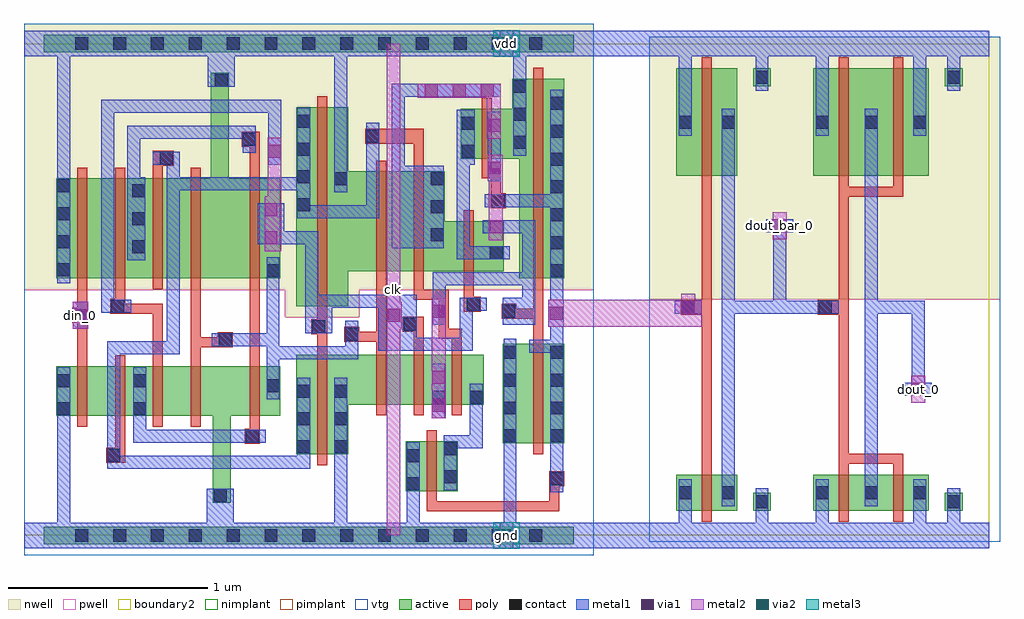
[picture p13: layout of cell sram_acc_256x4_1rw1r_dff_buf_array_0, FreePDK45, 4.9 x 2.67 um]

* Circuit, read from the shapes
.subckt sram_acc_256x4_1rw1r_dff_buf_array_0 clk din_0 dout_0 dout_bar_0 gnd vdd
M1 n1 din_0 gnd gnd nfet w=0.25u l=0.05u
M2 n2 n3 n1 gnd nfet w=0.25u l=0.05u
M3 n4 clk n2 gnd nfet w=0.25u l=0.05u
M4 gnd n5 n4 gnd nfet w=0.25u l=0.05u
M5 n5 n2 gnd gnd nfet w=0.25u l=0.05u
M6 gnd clk n3 gnd nfet w=0.5u l=0.05u
M7 n6 n5 gnd gnd nfet w=0.25u l=0.05u
M8 n7 clk n6 gnd nfet w=0.25u l=0.05u
M9 n8 sram_acc_256x4_1rw1r_dff_buf_0_0/sram_acc_256x4_1rw1r_pinv_3_1/A gnd gnd nfet w=0.25u l=0.05u
M10 n8 n3 n7 gnd nfet w=0.25u l=0.05u
M11 sram_acc_256x4_1rw1r_dff_buf_0_0/sram_acc_256x4_1rw1r_pinv_3_1/A n7 gnd gnd nfet w=0.5u l=0.05u
M12 dout_bar_0 sram_acc_256x4_1rw1r_dff_buf_0_0/sram_acc_256x4_1rw1r_pinv_3_1/A gnd gnd nfet w=0.18u l=0.05u
M13 dout_0 dout_bar_0 gnd gnd nfet w=0.18u l=0.05u m=2
M14 n9 din_0 vdd vdd pfet w=0.5u l=0.05u
M15 n2 clk n9 vdd pfet w=0.5u l=0.05u
M16 n10 n3 n2 vdd pfet w=0.5u l=0.05u
M17 vdd n5 n10 vdd pfet w=0.5u l=0.05u
M18 n5 n2 vdd vdd pfet w=0.5u l=0.05u
M19 vdd clk n3 vdd pfet w=1u l=0.05u
M20 n11 n5 vdd vdd pfet w=0.5u l=0.05u
M21 n7 n3 n11 vdd pfet w=0.5u l=0.05u
M22 n12 clk n7 vdd pfet w=0.25u l=0.05u
M23 vdd sram_acc_256x4_1rw1r_dff_buf_0_0/sram_acc_256x4_1rw1r_pinv_3_1/A n12 vdd pfet w=0.25u l=0.05u
M24 sram_acc_256x4_1rw1r_dff_buf_0_0/sram_acc_256x4_1rw1r_pinv_3_1/A n7 vdd vdd pfet w=1u l=0.05u
M25 dout_bar_0 sram_acc_256x4_1rw1r_dff_buf_0_0/sram_acc_256x4_1rw1r_pinv_3_1/A vdd vdd pfet w=0.54u l=0.05u
M26 dout_0 dout_bar_0 vdd vdd pfet w=0.54u l=0.05u m=2
.ends

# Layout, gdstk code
import gdstk
lib = gdstk.Library(unit=1e-6, precision=5e-10)
def R(c, l, rs):  # rectangles x0, y0, x1, y1
    for r in rs: c.add(gdstk.rectangle(r[:2], r[2:], *l))
def A(c, l, x, y, w, h, nx, ny, dx, dy):  # array of equal rectangles
    R(c, l, [(x+i*dx, y+j*dy, x+i*dx+w, y+j*dy+h) for i in range(nx) for j in range(ny)])
def P(c, l, *ps):  # polygons
    for p in ps: c.add(gdstk.Polygon(p, *l))
active = (1, 0)
pwell = (2, 0)
nwell = (3, 0)
nimplant = (4, 0)
pimplant = (5, 0)
vtg = (6, 0)
poly = (9, 0)
contact = (10, 0)
metal1 = (11, 0)
via1 = (12, 0)
metal2 = (13, 0)
via2 = (14, 0)
metal3 = (15, 0)
boundary2 = (239, 0)

dff = lib.new_cell('dff')
A(dff, active, 0.2675, 0.6, 0.05, 0.25, 4, 1, 0.19, 0)
A(dff, active, 0.3175, 0.6, 0.14, 0.25, 3, 1, 0.19, 0)
A(dff, active, 1.7675, 0.6575, 0.05, 0.25, 3, 1, 0.19, 0)
A(dff, active, 0.2675, 1.2925, 0.05, 0.5, 4, 1, 0.19, 0)
A(dff, active, 0.3175, 1.2925, 0.14, 0.5, 3, 1, 0.19, 0)
R(dff, active, [(0.1,-0.045,2.76,0.045), (1.9175,0.2225,2.0225,0.4725), (2.0225,0.2225,2.0725,0.4725), (2.0725,0.2225,2.1775,0.4725), (1.3675,0.4075,1.4725,0.9075), (1.4725,0.4075,1.5225,0.9075), (2.4025,0.4625,2.5575,0.9625), (2.5575,0.4625,2.6075,0.9625), (2.6075,0.4625,2.7125,0.9625), (0.1625,0.6,0.2675,0.85), (1.1325,0.6,1.1825,0.85), (1.1825,0.6,1.2875,0.85), (1.8175,0.6575,1.9575,0.9075), (2.0075,0.6575,2.1475,0.9075), (2.1975,0.6575,2.3075,0.9075), (1.3675,1.15,1.4725,2.15), (1.4725,1.15,1.5225,2.15), (0.1625,1.2925,0.2675,1.7925), (1.1325,1.2925,1.1825,1.7925), (1.1825,1.2925,1.2875,1.7925), (2.5575,1.2925,2.6075,2.2925), (2.6075,1.2925,2.7125,2.2925), (1.7675,1.3275,1.8175,1.8275), (1.8175,1.3275,1.9575,1.8275), (1.9575,1.3275,2.0075,1.8275), (2.2075,1.3275,2.2575,1.5775), (2.2575,1.3275,2.4075,1.5775), (2.1925,1.8925,2.2975,2.1425), (2.2975,1.8925,2.3475,2.1425), (0.1,2.425,2.76,2.515)])
P(dff, active, [(0.8875,1.2925),(0.8875,1.7925),(0.9375,1.7925),(0.9375,2.3225),(1.0275,2.3225),(1.0275,1.7925),(1.1325,1.7925),(1.1325,1.2925)],
  [(1.5225,1.15),(1.5225,2.15),(1.6275,2.15),(1.6275,1.8275),(1.7675,1.8275),(1.7675,1.3275),(1.6275,1.3275),(1.6275,1.15)],
  [(2.0075,1.3275),(2.0075,1.8275),(2.1125,1.8275),(2.1125,1.5775),(2.2075,1.5775),(2.2075,1.3275)],
  [(2.4875,1.2925),(2.4875,1.8925),(2.3475,1.8925),(2.3475,2.1425),(2.4525,2.1425),(2.4525,2.2925),(2.5575,2.2925),(2.5575,1.2925)],
  [(0.9475,0.165),(0.9475,0.6),(0.8875,0.6),(0.8875,0.85),(1.1325,0.85),(1.1325,0.6),(1.0375,0.6),(1.0375,0.165)],
  [(1.5225,0.4075),(1.5225,0.9075),(1.7675,0.9075),(1.7675,0.6575),(1.6275,0.6575),(1.6275,0.4075)])
P(dff, pwell, [(0,-0.1),(0,1.235),(1.3125,1.235),(1.3125,1.095),(1.6825,1.095),(1.6825,1.235),(2.86,1.235),(2.86,-0.1)])
P(dff, nwell, [(1.3125,1.095),(1.3125,1.235),(0,1.235),(0,2.57),(2.86,2.57),(2.86,1.235),(1.6825,1.235),(1.6825,1.095)])
A(dff, nimplant, 0.2675, 0.6, 0.05, 0.25, 4, 1, 0.19, 0)
A(dff, nimplant, 0.3175, 0.6, 0.14, 0.25, 3, 1, 0.19, 0)
A(dff, nimplant, 1.7675, 0.6575, 0.05, 0.25, 3, 1, 0.19, 0)
R(dff, nimplant, [(1.9175,0.2225,2.0225,0.4725), (2.0225,0.2225,2.0725,0.4725), (2.0725,0.2225,2.1775,0.4725), (1.3675,0.4075,1.4725,0.9075), (1.4725,0.4075,1.5225,0.9075), (2.4025,0.4625,2.5575,0.9625), (2.5575,0.4625,2.6075,0.9625), (2.6075,0.4625,2.7125,0.9625), (0.1625,0.6,0.2675,0.85), (1.1325,0.6,1.1825,0.85), (1.1825,0.6,1.2875,0.85), (1.8175,0.6575,1.9575,0.9075), (2.0075,0.6575,2.1475,0.9075), (2.1975,0.6575,2.3075,0.9075), (0.1,2.425,2.76,2.515)])
P(dff, nimplant, [(0.9475,0.165),(0.9475,0.6),(0.8875,0.6),(0.8875,0.85),(1.1325,0.85),(1.1325,0.6),(1.0375,0.6),(1.0375,0.165)],
  [(1.5225,0.4075),(1.5225,0.9075),(1.7675,0.9075),(1.7675,0.6575),(1.6275,0.6575),(1.6275,0.4075)])
A(dff, pimplant, 0.2675, 1.2925, 0.05, 0.5, 4, 1, 0.19, 0)
A(dff, pimplant, 0.3175, 1.2925, 0.14, 0.5, 3, 1, 0.19, 0)
R(dff, pimplant, [(0.1,-0.045,2.76,0.045), (1.3675,1.15,1.4725,2.15), (1.4725,1.15,1.5225,2.15), (0.1625,1.2925,0.2675,1.7925), (1.1325,1.2925,1.1825,1.7925), (1.1825,1.2925,1.2875,1.7925), (2.5575,1.2925,2.6075,2.2925), (2.6075,1.2925,2.7125,2.2925), (1.7675,1.3275,1.8175,1.8275), (1.8175,1.3275,1.9575,1.8275), (1.9575,1.3275,2.0075,1.8275), (2.2075,1.3275,2.2575,1.5775), (2.2575,1.3275,2.4075,1.5775), (2.1925,1.8925,2.2975,2.1425), (2.2975,1.8925,2.3475,2.1425)])
P(dff, pimplant, [(0.8875,1.2925),(0.8875,1.7925),(0.9375,1.7925),(0.9375,2.3225),(1.0275,2.3225),(1.0275,1.7925),(1.1325,1.7925),(1.1325,1.2925)],
  [(1.5225,1.15),(1.5225,2.15),(1.6275,2.15),(1.6275,1.8275),(1.7675,1.8275),(1.7675,1.3275),(1.6275,1.3275),(1.6275,1.15)],
  [(2.0075,1.3275),(2.0075,1.8275),(2.1125,1.8275),(2.1125,1.5775),(2.2075,1.5775),(2.2075,1.3275)],
  [(2.4875,1.2925),(2.4875,1.8925),(2.3475,1.8925),(2.3475,2.1425),(2.4525,2.1425),(2.4525,2.2925),(2.5575,2.2925),(2.5575,1.2925)])
R(dff, vtg, [(0,-0.1,2.86,2.57)])
A(dff, poly, 0.2675, 0.6, 0.05, 0.25, 4, 1, 0.19, 0)
A(dff, poly, 1.7675, 0.6025, 0.05, 0.055, 3, 1, 0.19, 0)
A(dff, poly, 1.7675, 0.6575, 0.05, 0.25, 3, 1, 0.19, 0)
A(dff, poly, 0.2675, 1.2925, 0.05, 0.5, 4, 1, 0.19, 0)
R(dff, poly, [(2.0225,0.2225,2.0725,0.4725), (1.4725,0.3525,1.5225,0.4075), (1.4725,0.4075,1.5225,0.9075), (2.5575,0.4075,2.6075,0.4625), (2.5575,0.4625,2.6075,0.9625), (2.0225,0.4725,2.0725,0.5275), (0.2675,0.545,0.3175,0.6), (0.6475,0.545,0.6975,0.6), (0.8375,0.545,0.8875,0.6), (1.1325,0.6,1.1825,0.85), (0.4575,0.85,0.5075,0.905), (1.1325,0.85,1.1825,1.2925), (1.4725,1.15,1.5225,2.15), (0.6475,1.2375,0.6975,1.2925), (1.1325,1.2925,1.1825,1.7925), (2.5575,1.2925,2.6075,2.2925), (1.7675,1.3275,1.8175,1.8275), (1.9575,1.3275,2.0075,1.8275), (2.2075,1.3275,2.2575,1.5775), (2.2075,1.5775,2.2575,1.6325), (0.2675,1.7925,0.3175,1.8475), (0.4575,1.7925,0.5075,1.8475), (0.8375,1.7925,0.8875,1.8475), (1.7675,1.8275,1.8175,1.8825), (2.2975,1.8925,2.3475,2.1425), (2.2975,2.1425,2.3475,2.1975), (1.4725,2.15,1.5225,2.205), (2.5575,2.2925,2.6075,2.3475)])
P(dff, poly, [(0.2675,0.85),(0.2675,1.0675),(0.2425,1.0675),(0.2425,1.1425),(0.2675,1.1425),(0.2675,1.2925),(0.3175,1.2925),(0.3175,0.85)],
  [(0.4125,0.365),(0.4125,0.44),(0.4575,0.44),(0.4575,0.6),(0.5075,0.6),(0.5075,0.365)],
  [(0.6475,1.7925),(0.6475,1.9325),(0.7525,1.9325),(0.7525,1.8575),(0.6975,1.8575),(0.6975,1.7925)],
  [(0.6475,0.85),(0.6475,1.1125),(0.4325,1.1125),(0.4325,1.1875),(0.4575,1.1875),(0.4575,1.2925),(0.5075,1.2925),(0.5075,1.1625),(0.6975,1.1625),(0.6975,0.85)],
  [(0.8375,0.85),(0.8375,1.2925),(0.8875,1.2925),(0.8875,0.995),(0.9725,0.995),(0.9725,1.02),(1.0475,1.02),(1.0475,0.945),(0.8875,0.945),(0.8875,0.85)],
  [(1.1325,1.7925),(1.1325,1.9525),(1.0925,1.9525),(1.0925,2.0275),(1.1825,2.0275),(1.1825,1.7925)],
  [(1.1075,0.46),(1.1075,0.535),(1.1325,0.535),(1.1325,0.6),(1.1825,0.6),(1.1825,0.46)],
  [(1.4725,0.9075),(1.4725,1.01),(1.4425,1.01),(1.4425,1.085),(1.4725,1.085),(1.4725,1.15),(1.5225,1.15),(1.5225,0.9075)],
  [(1.7675,0.9075),(1.7675,0.9725),(1.6075,0.9725),(1.6075,1.0475),(1.6825,1.0475),(1.6825,1.0225),(1.7675,1.0225),(1.7675,1.3275),(1.8175,1.3275),(1.8175,0.9075)],
  [(1.9575,1.8275),(1.9575,1.9675),(1.7125,1.9675),(1.7125,2.0425),(2.0075,2.0425),(2.0075,1.8275)],
  [(1.9575,0.9075),(1.9575,1.0225),(1.9025,1.0225),(1.9025,1.0975),(2.0075,1.0975),(2.0075,0.9075)],
  [(2.3425,1.6425),(2.3425,1.7925),(2.2975,1.7925),(2.2975,1.8925),(2.3475,1.8925),(2.3475,1.8425),(2.3925,1.8425),(2.3925,1.7175),(2.4175,1.7175),(2.4175,1.6425)],
  [(2.2075,1.1225),(2.2075,1.3275),(2.2575,1.3275),(2.2575,1.1975),(2.2925,1.1975),(2.2925,1.1225)],
  [(2.0225,0.1225),(2.0225,0.2225),(2.0725,0.2225),(2.0725,0.1725),(2.6375,0.1725),(2.6375,0.3225),(2.7125,0.3225),(2.7125,0.2475),(2.6875,0.2475),(2.6875,0.1225)],
  [(2.1475,0.9075),(2.1475,0.9875),(2.0825,0.9875),(2.0825,1.1825),(1.9575,1.1825),(1.9575,1.3275),(2.0075,1.3275),(2.0075,1.2325),(2.1325,1.2325),(2.1325,1.0375),(2.1975,1.0375),(2.1975,0.9075)],
  [(2.5575,0.9625),(2.5575,1.0875),(2.3975,1.0875),(2.3975,1.1625),(2.4725,1.1625),(2.4725,1.1375),(2.5575,1.1375),(2.5575,1.2925),(2.6075,1.2925),(2.6075,0.9625)])
A(dff, contact, 0.2575, -0.0325, 0.065, 0.065, 13, 2, 0.19, 2.47)
A(dff, contact, 1.3725, 0.4125, 0.065, 0.065, 1, 3, 0, 0.14)
A(dff, contact, 1.5575, 0.4125, 0.065, 0.065, 1, 3, 0, 0.14)
A(dff, contact, 2.4075, 0.4675, 0.065, 0.065, 1, 4, 0, 0.14)
A(dff, contact, 2.6425, 0.4675, 0.065, 0.065, 1, 4, 0, 0.14)
A(dff, contact, 2.6425, 1.2975, 0.065, 0.065, 1, 7, 0, 0.14)
A(dff, contact, 0.1675, 1.3025, 0.065, 0.065, 1, 4, 0, 0.14)
A(dff, contact, 0.5425, 1.4175, 0.065, 0.065, 1, 3, 0, 0.14)
A(dff, contact, 2.0425, 1.4775, 0.065, 0.065, 1, 3, 0, 0.14)
A(dff, contact, 1.3725, 1.6275, 0.065, 0.065, 1, 4, 0, 0.14)
A(dff, contact, 2.4575, 1.9425, 0.065, 0.065, 1, 3, 0, 0.14)
R(dff, contact, [(0.9525,0.17,1.0175,0.235), (1.9225,0.2275,1.9875,0.2925), (2.6425,0.2525,2.7075,0.3175), (2.1075,0.2625,2.1725,0.3275), (1.9225,0.3675,1.9875,0.4325), (0.4175,0.37,0.4825,0.435), (2.1075,0.4025,2.1725,0.4675), (1.1125,0.465,1.1775,0.53), (0.1675,0.605,0.2325,0.67), (0.5475,0.605,0.6125,0.67), (2.0475,0.6625,2.1125,0.7275), (2.2375,0.6625,2.3025,0.7275), (1.2175,0.72,1.2825,0.785), (0.1675,0.745,0.2325,0.81), (0.5475,0.745,0.6125,0.81), (0.9775,0.95,1.0425,1.015), (1.6125,0.9775,1.6775,1.0425), (1.4475,1.015,1.5125,1.08), (1.9075,1.0275,1.9725,1.0925), (0.2475,1.0725,0.3125,1.1375), (2.4025,1.0925,2.4675,1.1575), (0.4375,1.1175,0.5025,1.1825), (2.2225,1.1275,2.2875,1.1925), (1.2175,1.2975,1.2825,1.3625), (2.3375,1.3875,2.4025,1.4525), (2.3475,1.6475,2.4125,1.7125), (1.5575,1.7575,1.6225,1.8225), (0.6825,1.8625,0.7475,1.9275), (2.1975,1.8975,2.2625,1.9625), (1.0975,1.9575,1.1625,2.0225), (1.7175,1.9725,1.7825,2.0375), (2.1975,2.0375,2.2625,2.1025), (0.9575,2.2525,1.0225,2.3175)])
R(dff, metal1, [(0,-0.065,2.86,0.065), (0,-0.065,2.86,0.065), (2.0475,0.5875,2.1125,0.8625), (2.6425,0.915,2.7075,1.1275), (1.7775,0.9275,1.9725,1.2075), (0.245,1.0375,0.3225,1.1725), (2.6325,1.0475,2.71,1.1825), (2.3275,1.7775,2.3925,2.1275), (0,2.405,2.76,2.535), (0,2.405,2.76,2.535)])
P(dff, metal1, [(0.1675,1.2675),(0.1675,2.405),(0.1,2.405),(0.1,2.535),(2.86,2.535),(2.86,2.405),(2.5225,2.405),(2.5225,1.9075),(2.4575,1.9075),(2.4575,2.405),(1.6225,2.405),(1.6225,1.7225),(1.5575,1.7225),(1.5575,2.405),(1.0575,2.405),(1.0575,2.2525),(0.9225,2.2525),(0.9225,2.405),(0.2325,2.405),(0.2325,1.2675)],
  [(0.1,-0.065),(0.1,0.065),(0.1675,0.065),(0.1675,0.845),(0.2325,0.845),(0.2325,0.065),(0.9175,0.065),(0.9175,0.235),(1.0525,0.235),(1.0525,0.065),(1.5575,0.065),(1.5575,0.7925),(1.6225,0.7925),(1.6225,0.065),(1.9225,0.065),(1.9225,0.4675),(1.9875,0.4675),(1.9875,0.065),(2.4075,0.065),(2.4075,0.9875),(2.4725,0.9875),(2.4725,0.065),(2.76,0.065),(2.76,-0.065)],
  [(0.4175,0.335),(0.4175,0.975),(0.7175,0.975),(0.7175,1.8625),(0.6475,1.8625),(0.6475,1.9275),(0.7825,1.9275),(0.7825,1.7975),(1.3725,1.7975),(1.3725,2.1475),(1.4375,2.1475),(1.4375,1.6575),(1.7175,1.6575),(1.7175,2.0725),(1.7825,2.0725),(1.7825,1.5925),(1.3725,1.5925),(1.3725,1.7325),(0.7825,1.7325),(0.7825,0.91),(0.4825,0.91),(0.4825,0.4),(1.3725,0.4),(1.3725,0.7925),(1.4375,0.7925),(1.4375,0.335)],
  [(1.7775,0.9275),(1.7775,1.1425),(1.5475,1.1425),(1.5475,1.015),(1.4125,1.015),(1.4125,1.4625),(1.1725,1.4625),(1.1725,1.6675),(1.3075,1.6675),(1.3075,1.5275),(1.4775,1.5275),(1.4775,1.2075),(1.9725,1.2075),(1.9725,0.9925),(2.1875,0.9925),(2.1875,1.1925),(2.3225,1.1925),(2.3225,1.1275),(2.2525,1.1275),(2.2525,0.9275)],
  [(0.3875,1.1175),(0.3875,2.1875),(1.2925,2.1875),(1.2925,1.8625),(1.2275,1.8625),(1.2275,2.1225),(0.4525,2.1225),(0.4525,1.1825),(0.5375,1.1825),(0.5375,1.1175)],
  [(0.5175,1.3825),(0.5175,2.0575),(1.1625,2.0575),(1.1625,1.9225),(1.0975,1.9225),(1.0975,1.9925),(0.5825,1.9925),(0.5825,1.7975),(0.6075,1.7975),(0.6075,1.3825)],
  [(0.5475,0.465),(0.5475,0.845),(0.6125,0.845),(0.6125,0.53),(1.2125,0.53),(1.2125,0.465)],
  [(1.2175,0.685),(1.2175,0.95),(0.9425,0.95),(0.9425,1.015),(1.2175,1.015),(1.2175,1.3975),(1.2825,1.3975),(1.2825,0.95),(1.6125,0.95),(1.6125,1.0775),(1.6775,1.0775),(1.6775,0.885),(1.2825,0.885),(1.2825,0.685)],
  [(1.8475,1.4425),(1.8475,2.2675),(2.3925,2.2675),(2.3925,2.2025),(1.9125,2.2025),(1.9125,1.8575),(2.1075,1.8575),(2.1075,1.4425)],
  [(2.0525,1.0575),(2.0525,1.3225),(2.5025,1.3225),(2.5025,1.5175),(2.3025,1.5175),(2.3025,1.5825),(2.5675,1.5825),(2.5675,1.0575),(2.4025,1.0575),(2.4025,1.1925),(2.5025,1.1925),(2.5025,1.2575),(2.1175,1.2575),(2.1175,1.0575)],
  [(2.1725,1.3875),(2.1725,2.1375),(2.2625,2.1375),(2.2625,1.8625),(2.2375,1.8625),(2.2375,1.4525),(2.4375,1.4525),(2.4375,1.3875)],
  [(2.6425,0.2175),(2.6425,0.9175),(2.5375,0.9175),(2.5375,0.9825),(2.6425,0.9825),(2.6425,1.6475),(2.3125,1.6475),(2.3125,1.7125),(2.6425,1.7125),(2.6425,2.2375),(2.7075,2.2375),(2.7075,0.2175)],
  [(2.1075,0.2275),(2.1075,0.5025),(2.2375,0.5025),(2.2375,0.7625),(2.3025,0.7625),(2.3025,0.4375),(2.1725,0.4375),(2.1725,0.2275)])
A(dff, via1, 2.0125, 2.2025, 0.065, 0.065, 3, 1, 0.14, 0)
R(dff, via1, [(2.0475,0.6225,2.1125,0.6875), (2.0475,0.7625,2.1125,0.8275), (0.2475,1.0725,0.3125,1.1375), (1.825,1.0725,1.89,1.1375), (2.64,1.0825,2.705,1.1475), (2.0525,1.0925,2.1175,1.1575), (1.2075,1.4625,1.2725,1.5275), (2.3375,1.5175,2.4025,1.5825), (1.2075,1.6025,1.2725,1.6675), (2.3275,1.8125,2.3925,1.8775), (1.2275,1.8975,1.2925,1.9625), (2.3275,2.0275,2.3925,2.0925)])
R(dff, metal2, [(2.0475,0.5875,2.1175,1.1925), (0.245,1.0375,0.3225,1.1725), (0.245,1.0375,0.3225,1.1725), (1.82,1.0375,1.8975,1.1725), (1.82,1.0375,1.8975,1.1725), (2.6325,1.0475,2.71,1.1825), (2.6325,1.0475,2.71,1.1825)])
P(dff, metal2, [(1.2075,1.4275),(1.2075,1.7025),(1.2225,1.7025),(1.2225,1.9975),(1.2925,1.9975),(1.2925,1.4275)],
  [(2.3225,1.9925),(2.3225,2.1975),(1.9775,2.1975),(1.9775,2.2675),(2.3925,2.2675),(2.3925,1.9925)],
  [(2.3325,1.4825),(2.3325,1.7775),(2.3275,1.7775),(2.3275,1.9125),(2.4025,1.9125),(2.4025,1.4825)])
R(dff, boundary2, [(0,0,2.86,2.47)])
dff.add(gdstk.Label('clk', (1.865,1.15), layer=13, texttype=0))
dff.add(gdstk.Label('D', (0.295,1.15), layer=13, texttype=0))
dff.add(gdstk.Label('Q', (2.685,1.1), layer=13, texttype=0))
dff.add(gdstk.Label('gnd', (1.645,0.0425), layer=11, texttype=0))
dff.add(gdstk.Label('vdd', (2.035,2.5325), layer=11, texttype=0))
dff.add(gdstk.Label('D', (0.284,1.105), layer=13, texttype=0))
dff.add(gdstk.Label('Q', (2.671,1.115), layer=13, texttype=0))
dff.add(gdstk.Label('clk', (1.859,1.105), layer=13, texttype=0))
dff.add(gdstk.Label('vdd', (1.38,2.47), layer=11, texttype=0))
dff.add(gdstk.Label('gnd', (1.43,0), layer=11, texttype=0))

sram_acc_256x4_1rw1r_con = lib.new_cell('sram_acc_256x4_1rw1r_contact_11')
R(sram_acc_256x4_1rw1r_con, active, [(0,0.0225,0.09,0.1125)])
R(sram_acc_256x4_1rw1r_con, nwell, [(-0.055,-0.0325,0.145,0.1675)])
R(sram_acc_256x4_1rw1r_con, pimplant, [(0,0.0225,0.09,0.1125)])
R(sram_acc_256x4_1rw1r_con, contact, [(0.0125,0.035,0.0775,0.1)])
R(sram_acc_256x4_1rw1r_con, metal1, [(0.0125,0,0.0775,0.135)])
R(sram_acc_256x4_1rw1r_con, boundary2, [(-0.055,-0.0325,0.145,0.1675)])

sram_acc_256x4_1rw1r_pmo = lib.new_cell('sram_acc_256x4_1rw1r_pmos_m1_w0_540_sm1_dm1_da_p')
R(sram_acc_256x4_1rw1r_pmo, active, [(0,0,0.305,0.54)])
R(sram_acc_256x4_1rw1r_pmo, nwell, [(-0.08,-0.08,0.385,0.62)])
R(sram_acc_256x4_1rw1r_pmo, pimplant, [(0,0,0.305,0.54)])
R(sram_acc_256x4_1rw1r_pmo, vtg, [(-0.08,-0.08,0.385,0.62)])
R(sram_acc_256x4_1rw1r_pmo, poly, [(0.1275,-0.055,0.1775,0.595), (0.1275,-0.055,0.1775,0.595)])
R(sram_acc_256x4_1rw1r_pmo, metal1, [(0.0125,0.2025,0.0775,0.3375), (0.2275,0.2025,0.2925,0.3375)])
R(sram_acc_256x4_1rw1r_pmo, boundary2, [(-0.08,-0.08,0.385,0.62)])
sram_acc_256x4_1rw1r_pmo.add(gdstk.Reference(sram_acc_256x4_1rw1r_con, (0,0.2025)))
sram_acc_256x4_1rw1r_pmo.add(gdstk.Reference(sram_acc_256x4_1rw1r_con, (0.215,0.2025)))
sram_acc_256x4_1rw1r_pmo.add(gdstk.Label('G', (0.1525,0.27), layer=9, texttype=0))
sram_acc_256x4_1rw1r_pmo.add(gdstk.Label('S', (0.045,0.27), layer=11, texttype=0))
sram_acc_256x4_1rw1r_pmo.add(gdstk.Label('D', (0.26,0.27), layer=11, texttype=0))

c_sram_acc_256x4_1rw1r_con = lib.new_cell('sram_acc_256x4_1rw1r_contact_10')
R(c_sram_acc_256x4_1rw1r_con, active, [(0,0.0225,0.09,0.1125)])
R(c_sram_acc_256x4_1rw1r_con, pwell, [(-0.055,-0.0325,0.145,0.1675)])
R(c_sram_acc_256x4_1rw1r_con, nimplant, [(0,0.0225,0.09,0.1125)])
R(c_sram_acc_256x4_1rw1r_con, contact, [(0.0125,0.035,0.0775,0.1)])
R(c_sram_acc_256x4_1rw1r_con, metal1, [(0.0125,0,0.0775,0.135)])
R(c_sram_acc_256x4_1rw1r_con, boundary2, [(-0.055,-0.0325,0.145,0.1675)])

sram_acc_256x4_1rw1r_nmo = lib.new_cell('sram_acc_256x4_1rw1r_nmos_m1_w0_180_sm1_dm1_da_p')
R(sram_acc_256x4_1rw1r_nmo, active, [(0,0,0.305,0.18)])
R(sram_acc_256x4_1rw1r_nmo, pwell, [(-0.08,-0.08,0.385,0.26)])
R(sram_acc_256x4_1rw1r_nmo, nimplant, [(0,0,0.305,0.18)])
R(sram_acc_256x4_1rw1r_nmo, vtg, [(-0.08,-0.08,0.385,0.26)])
R(sram_acc_256x4_1rw1r_nmo, poly, [(0.1275,-0.055,0.1775,0.235), (0.1275,-0.055,0.1775,0.235)])
R(sram_acc_256x4_1rw1r_nmo, metal1, [(0.0125,0.0225,0.0775,0.1575), (0.2275,0.0225,0.2925,0.1575)])
R(sram_acc_256x4_1rw1r_nmo, boundary2, [(-0.08,-0.08,0.385,0.26)])
sram_acc_256x4_1rw1r_nmo.add(gdstk.Reference(c_sram_acc_256x4_1rw1r_con, (0,0.0225)))
sram_acc_256x4_1rw1r_nmo.add(gdstk.Reference(c_sram_acc_256x4_1rw1r_con, (0.215,0.0225)))
sram_acc_256x4_1rw1r_nmo.add(gdstk.Label('G', (0.1525,0.09), layer=9, texttype=0))
sram_acc_256x4_1rw1r_nmo.add(gdstk.Label('S', (0.045,0.09), layer=11, texttype=0))
sram_acc_256x4_1rw1r_nmo.add(gdstk.Label('D', (0.26,0.09), layer=11, texttype=0))

c_sram_acc_256x4_1rw1r_con_ = lib.new_cell('sram_acc_256x4_1rw1r_contact_12')
R(c_sram_acc_256x4_1rw1r_con_, active, [(0,0.0225,0.09,0.1125)])
R(c_sram_acc_256x4_1rw1r_con_, nwell, [(-0.055,-0.0325,0.145,0.1675)])
R(c_sram_acc_256x4_1rw1r_con_, nimplant, [(0,0.0225,0.09,0.1125)])
R(c_sram_acc_256x4_1rw1r_con_, contact, [(0.0125,0.035,0.0775,0.1)])
R(c_sram_acc_256x4_1rw1r_con_, metal1, [(0.0125,0,0.0775,0.135)])
R(c_sram_acc_256x4_1rw1r_con_, boundary2, [(-0.055,-0.0325,0.145,0.1675)])

c_sram_acc_256x4_1rw1r_con__ = lib.new_cell('sram_acc_256x4_1rw1r_contact_13')
R(c_sram_acc_256x4_1rw1r_con__, active, [(0,0.0225,0.09,0.1125)])
R(c_sram_acc_256x4_1rw1r_con__, pwell, [(-0.055,-0.0325,0.145,0.1675)])
R(c_sram_acc_256x4_1rw1r_con__, pimplant, [(0,0.0225,0.09,0.1125)])
R(c_sram_acc_256x4_1rw1r_con__, contact, [(0.0125,0.035,0.0775,0.1)])
R(c_sram_acc_256x4_1rw1r_con__, metal1, [(0.0125,0,0.0775,0.135)])
R(c_sram_acc_256x4_1rw1r_con__, boundary2, [(-0.055,-0.0325,0.145,0.1675)])

c_sram_acc_256x4_1rw1r_con___ = lib.new_cell('sram_acc_256x4_1rw1r_contact_14')
R(c_sram_acc_256x4_1rw1r_con___, poly, [(0.03,0,0.105,0.075)])
R(c_sram_acc_256x4_1rw1r_con___, contact, [(0.035,0.005,0.1,0.07)])
R(c_sram_acc_256x4_1rw1r_con___, metal1, [(0,0.005,0.135,0.07)])
R(c_sram_acc_256x4_1rw1r_con___, boundary2, [(0,0,0.135,0.075)])

sram_acc_256x4_1rw1r_pin = lib.new_cell('sram_acc_256x4_1rw1r_pinv_3')
R(sram_acc_256x4_1rw1r_pin, pwell, [(-0.055,-0.0325,0.7425,1.185)])
R(sram_acc_256x4_1rw1r_pin, nwell, [(-0.055,1.185,0.7425,2.505)])
R(sram_acc_256x4_1rw1r_pin, vtg, [(-0.055,-0.0325,0.7425,1.185), (-0.055,1.185,0.7425,2.505)])
R(sram_acc_256x4_1rw1r_pin, poly, [(0.2075,0.36,0.2575,1.75), (0.14,1.1075,0.2075,1.1825)])
R(sram_acc_256x4_1rw1r_pin, metal1, [(0,-0.0325,0.6875,0.0325), (0.0925,-0.0325,0.1575,0.1475), (0.4775,0,0.5425,0.17), (0.3075,0.1475,0.3725,2.1425), (0.0725,1.1125,0.2075,1.1775), (0.34,1.1125,0.405,1.1775), (0.0925,2.0075,0.1575,2.5025), (0.4775,2.3,0.5425,2.47), (0,2.4375,0.6875,2.5025)])
R(sram_acc_256x4_1rw1r_pin, boundary2, [(0,0,0.6875,2.47), (0,0,0.6875,2.47)])
sram_acc_256x4_1rw1r_pin.add(gdstk.Reference(sram_acc_256x4_1rw1r_pmo, (0.08,1.805)))
sram_acc_256x4_1rw1r_pin.add(gdstk.Reference(sram_acc_256x4_1rw1r_nmo, (0.08,0.125)))
sram_acc_256x4_1rw1r_pin.add(gdstk.Reference(c_sram_acc_256x4_1rw1r_con_, (0.465,2.2325)))
sram_acc_256x4_1rw1r_pin.add(gdstk.Reference(c_sram_acc_256x4_1rw1r_con__, (0.465,0.1025)))
sram_acc_256x4_1rw1r_pin.add(gdstk.Reference(c_sram_acc_256x4_1rw1r_con___, (0.0725,1.1075)))
sram_acc_256x4_1rw1r_pin.add(gdstk.Label('A', (0.14,1.145), layer=11, texttype=0))
sram_acc_256x4_1rw1r_pin.add(gdstk.Label('Z', (0.3725,1.145), layer=11, texttype=0))
sram_acc_256x4_1rw1r_pin.add(gdstk.Label('gnd', (0.344,0), layer=11, texttype=0))
sram_acc_256x4_1rw1r_pin.add(gdstk.Label('vdd', (0.344,2.47), layer=11, texttype=0))

c_sram_acc_256x4_1rw1r_pmo = lib.new_cell('sram_acc_256x4_1rw1r_pmos_m2_w0_540_sm1_dm1_da_p')
R(c_sram_acc_256x4_1rw1r_pmo, active, [(0,0,0.58,0.54)])
R(c_sram_acc_256x4_1rw1r_pmo, nwell, [(-0.08,-0.08,0.66,0.62)])
R(c_sram_acc_256x4_1rw1r_pmo, pimplant, [(0,0,0.58,0.54)])
R(c_sram_acc_256x4_1rw1r_pmo, vtg, [(-0.08,-0.08,0.66,0.62)])
R(c_sram_acc_256x4_1rw1r_pmo, poly, [(0.1275,-0.105,0.4525,-0.055), (0.1275,-0.055,0.1775,0.595), (0.4025,-0.055,0.4525,0.595)])
A(c_sram_acc_256x4_1rw1r_pmo, metal1, 0.0125, 0.2025, 0.065, 0.135, 3, 1, 0.245, 0)
R(c_sram_acc_256x4_1rw1r_pmo, boundary2, [(-0.08,-0.105,0.66,0.62)])
c_sram_acc_256x4_1rw1r_pmo.add(gdstk.Reference(sram_acc_256x4_1rw1r_con, (0,0.2025)))
c_sram_acc_256x4_1rw1r_pmo.add(gdstk.Reference(sram_acc_256x4_1rw1r_con, (0.245,0.2025)))
c_sram_acc_256x4_1rw1r_pmo.add(gdstk.Reference(sram_acc_256x4_1rw1r_con, (0.49,0.2025)))
c_sram_acc_256x4_1rw1r_pmo.add(gdstk.Label('G', (0.29,-0.08), layer=9, texttype=0))
c_sram_acc_256x4_1rw1r_pmo.add(gdstk.Label('S', (0.535,0.27), layer=11, texttype=0))
c_sram_acc_256x4_1rw1r_pmo.add(gdstk.Label('S', (0.045,0.27), layer=11, texttype=0))
c_sram_acc_256x4_1rw1r_pmo.add(gdstk.Label('D', (0.29,0.27), layer=11, texttype=0))

c_sram_acc_256x4_1rw1r_nmo = lib.new_cell('sram_acc_256x4_1rw1r_nmos_m2_w0_180_sm1_dm1_da_p')
R(c_sram_acc_256x4_1rw1r_nmo, active, [(0,0,0.58,0.18)])
R(c_sram_acc_256x4_1rw1r_nmo, pwell, [(-0.08,-0.08,0.66,0.26)])
R(c_sram_acc_256x4_1rw1r_nmo, nimplant, [(0,0,0.58,0.18)])
R(c_sram_acc_256x4_1rw1r_nmo, vtg, [(-0.08,-0.08,0.66,0.26)])
R(c_sram_acc_256x4_1rw1r_nmo, poly, [(0.1275,-0.055,0.1775,0.235), (0.4025,-0.055,0.4525,0.235), (0.1275,0.235,0.4525,0.285)])
A(c_sram_acc_256x4_1rw1r_nmo, metal1, 0.0125, 0.0225, 0.065, 0.135, 3, 1, 0.245, 0)
R(c_sram_acc_256x4_1rw1r_nmo, boundary2, [(-0.08,-0.08,0.66,0.285)])
c_sram_acc_256x4_1rw1r_nmo.add(gdstk.Reference(c_sram_acc_256x4_1rw1r_con, (0,0.0225)))
c_sram_acc_256x4_1rw1r_nmo.add(gdstk.Reference(c_sram_acc_256x4_1rw1r_con, (0.245,0.0225)))
c_sram_acc_256x4_1rw1r_nmo.add(gdstk.Reference(c_sram_acc_256x4_1rw1r_con, (0.49,0.0225)))
c_sram_acc_256x4_1rw1r_nmo.add(gdstk.Label('G', (0.29,0.26), layer=9, texttype=0))
c_sram_acc_256x4_1rw1r_nmo.add(gdstk.Label('S', (0.535,0.09), layer=11, texttype=0))
c_sram_acc_256x4_1rw1r_nmo.add(gdstk.Label('S', (0.045,0.09), layer=11, texttype=0))
c_sram_acc_256x4_1rw1r_nmo.add(gdstk.Label('D', (0.29,0.09), layer=11, texttype=0))

c_sram_acc_256x4_1rw1r_pin = lib.new_cell('sram_acc_256x4_1rw1r_pinv_4')
R(c_sram_acc_256x4_1rw1r_pin, pwell, [(-0.055,-0.0325,1.0175,1.185)])
R(c_sram_acc_256x4_1rw1r_pin, nwell, [(-0.055,1.185,1.0175,2.505)])
R(c_sram_acc_256x4_1rw1r_pin, vtg, [(-0.055,-0.0325,1.0175,1.185), (-0.055,1.185,1.0175,2.505)])
R(c_sram_acc_256x4_1rw1r_pin, poly, [(0.2075,0.41,0.2575,1.7), (0.14,1.1075,0.2075,1.1825)])
R(c_sram_acc_256x4_1rw1r_pin, metal1, [(0,-0.0325,0.9625,0.0325), (0.0925,-0.0325,0.1575,0.1475), (0.5825,-0.0325,0.6475,0.1475), (0.7525,0,0.8175,0.17), (0.3375,0.1475,0.4025,2.1425), (0.0725,1.1125,0.2075,1.1775), (0.37,1.1125,0.435,1.1775), (0.0925,2.0075,0.1575,2.5025), (0.5825,2.0075,0.6475,2.5025), (0.7525,2.3,0.8175,2.47), (0,2.4375,0.9625,2.5025)])
R(c_sram_acc_256x4_1rw1r_pin, boundary2, [(0,0,0.9625,2.47), (0,0,0.9625,2.47)])
c_sram_acc_256x4_1rw1r_pin.add(gdstk.Reference(c_sram_acc_256x4_1rw1r_pmo, (0.08,1.805)))
c_sram_acc_256x4_1rw1r_pin.add(gdstk.Reference(c_sram_acc_256x4_1rw1r_nmo, (0.08,0.125)))
c_sram_acc_256x4_1rw1r_pin.add(gdstk.Reference(c_sram_acc_256x4_1rw1r_con_, (0.74,2.2325)))
c_sram_acc_256x4_1rw1r_pin.add(gdstk.Reference(c_sram_acc_256x4_1rw1r_con__, (0.74,0.1025)))
c_sram_acc_256x4_1rw1r_pin.add(gdstk.Reference(c_sram_acc_256x4_1rw1r_con___, (0.0725,1.1075)))
c_sram_acc_256x4_1rw1r_pin.add(gdstk.Label('A', (0.14,1.145), layer=11, texttype=0))
c_sram_acc_256x4_1rw1r_pin.add(gdstk.Label('Z', (0.4025,1.145), layer=11, texttype=0))
c_sram_acc_256x4_1rw1r_pin.add(gdstk.Label('gnd', (0.481,0), layer=11, texttype=0))
c_sram_acc_256x4_1rw1r_pin.add(gdstk.Label('vdd', (0.481,2.47), layer=11, texttype=0))

c_sram_acc_256x4_1rw1r_con____ = lib.new_cell('sram_acc_256x4_1rw1r_contact_17')
R(c_sram_acc_256x4_1rw1r_con____, metal1, [(0,0.035,0.135,0.1)])
R(c_sram_acc_256x4_1rw1r_con____, via1, [(0.035,0.035,0.1,0.1)])
R(c_sram_acc_256x4_1rw1r_con____, metal2, [(0.0325,0,0.1025,0.135)])
R(c_sram_acc_256x4_1rw1r_con____, boundary2, [(0,0,0.135,0.135)])

sram_acc_256x4_1rw1r_dff = lib.new_cell('sram_acc_256x4_1rw1r_dff_buf_0')
R(sram_acc_256x4_1rw1r_dff, metal1, [(0,-0.065,4.845,0.065), (4.4575,0.735,4.5225,1.145), (3.5675,1.1125,3.795,1.1775), (3.795,1.1125,4.0225,1.1775), (4.285,1.1125,4.49,1.1775), (4.4575,1.1125,4.5225,1.1775), (3.7625,1.145,3.8275,1.555), (0,2.405,4.845,2.535)])
R(sram_acc_256x4_1rw1r_dff, metal2, [(4.455,0.7,4.525,0.77), (0.245,1.0375,0.3225,1.1725), (1.82,1.0375,1.8975,1.1725), (2.67,1.0475,3.335,1.1825), (3.2675,1.0475,3.4025,1.1825), (3.2675,1.115,3.4025,1.145), (3.76,1.52,3.83,1.59)])
R(sram_acc_256x4_1rw1r_dff, boundary2, [(0,0,4.845,2.47)])
sram_acc_256x4_1rw1r_dff.add(gdstk.Reference(dff, (0,0)))
sram_acc_256x4_1rw1r_dff.add(gdstk.Reference(sram_acc_256x4_1rw1r_pin, (3.195,0)))
sram_acc_256x4_1rw1r_dff.add(gdstk.Reference(c_sram_acc_256x4_1rw1r_pin, (3.8825,0)))
sram_acc_256x4_1rw1r_dff.add(gdstk.Reference(c_sram_acc_256x4_1rw1r_con____, (3.2675,1.0775)))
sram_acc_256x4_1rw1r_dff.add(gdstk.Reference(c_sram_acc_256x4_1rw1r_con____, (4.4225,0.6675)))
sram_acc_256x4_1rw1r_dff.add(gdstk.Reference(c_sram_acc_256x4_1rw1r_con____, (3.7275,1.4875)))
sram_acc_256x4_1rw1r_dff.add(gdstk.Label('vdd', (2.4225,2.47), layer=11, texttype=0))
sram_acc_256x4_1rw1r_dff.add(gdstk.Label('gnd', (2.4225,0), layer=11, texttype=0))
sram_acc_256x4_1rw1r_dff.add(gdstk.Label('clk', (1.859,1.105), layer=13, texttype=0))
sram_acc_256x4_1rw1r_dff.add(gdstk.Label('D', (0.284,1.105), layer=13, texttype=0))
sram_acc_256x4_1rw1r_dff.add(gdstk.Label('Q', (4.49,0.735), layer=13, texttype=0))
sram_acc_256x4_1rw1r_dff.add(gdstk.Label('Qb', (3.795,1.555), layer=13, texttype=0))

c_sram_acc_256x4_1rw1r_con_____ = lib.new_cell('sram_acc_256x4_1rw1r_contact_18')
R(c_sram_acc_256x4_1rw1r_con_____, metal2, [(0.0325,0,0.1025,0.135)])
R(c_sram_acc_256x4_1rw1r_con_____, via2, [(0.035,0.035,0.1,0.1)])
R(c_sram_acc_256x4_1rw1r_con_____, metal3, [(0,0.0325,0.135,0.1025)])
R(c_sram_acc_256x4_1rw1r_con_____, boundary2, [(0,0,0.135,0.135)])

c_sram_acc_256x4_1rw1r_dff = lib.new_cell('sram_acc_256x4_1rw1r_dff_buf_array_0')
R(c_sram_acc_256x4_1rw1r_dff, metal1, [(0,-0.065,4.845,0.065), (0,2.405,4.845,2.535)])
R(c_sram_acc_256x4_1rw1r_dff, metal2, [(1.82,0,1.89,2.47), (4.455,0.7,4.525,0.77), (0.245,1.0375,0.3225,1.1725), (3.76,1.52,3.83,1.59)])
R(c_sram_acc_256x4_1rw1r_dff, metal3, [(2.355,-0.0675,2.49,0.0675), (2.355,2.4025,2.49,2.5375)])
R(c_sram_acc_256x4_1rw1r_dff, boundary2, [(0,0,4.845,2.47)])
c_sram_acc_256x4_1rw1r_dff.add(gdstk.Reference(sram_acc_256x4_1rw1r_dff, (0,0)))
c_sram_acc_256x4_1rw1r_dff.add(gdstk.Reference(c_sram_acc_256x4_1rw1r_con____, (2.355,2.4025)))
c_sram_acc_256x4_1rw1r_dff.add(gdstk.Reference(c_sram_acc_256x4_1rw1r_con_____, (2.355,2.4025)))
c_sram_acc_256x4_1rw1r_dff.add(gdstk.Reference(c_sram_acc_256x4_1rw1r_con____, (2.355,-0.0675)))
c_sram_acc_256x4_1rw1r_dff.add(gdstk.Reference(c_sram_acc_256x4_1rw1r_con_____, (2.355,-0.0675)))
c_sram_acc_256x4_1rw1r_dff.add(gdstk.Label('vdd', (2.4225,2.47), layer=15, texttype=0))
c_sram_acc_256x4_1rw1r_dff.add(gdstk.Label('gnd', (2.4225,0), layer=15, texttype=0))
c_sram_acc_256x4_1rw1r_dff.add(gdstk.Label('din_0', (0.284,1.105), layer=13, texttype=0))
c_sram_acc_256x4_1rw1r_dff.add(gdstk.Label('dout_0', (4.49,0.735), layer=13, texttype=0))
c_sram_acc_256x4_1rw1r_dff.add(gdstk.Label('dout_bar_0', (3.795,1.555), layer=13, texttype=0))
c_sram_acc_256x4_1rw1r_dff.add(gdstk.Label('clk', (1.855,1.235), layer=13, texttype=0))

lib.write_gds('sram_acc_256x4_1rw1r_dff_buf_array_0.gds')
